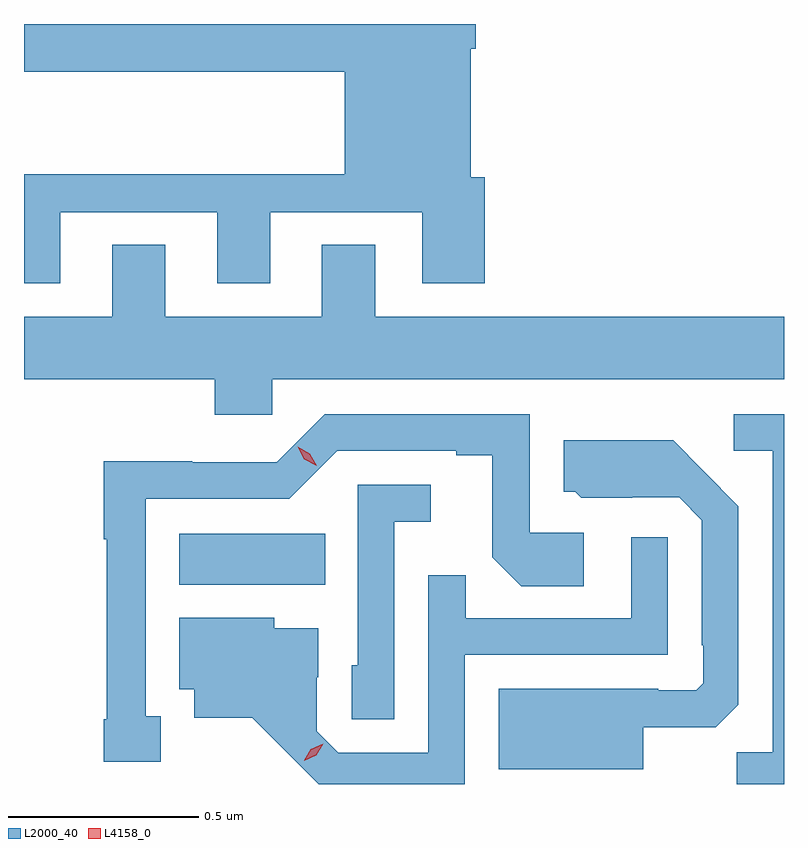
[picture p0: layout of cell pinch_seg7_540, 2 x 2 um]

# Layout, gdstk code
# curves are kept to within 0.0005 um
import gdstk
lib = gdstk.Library(unit=1e-6, precision=1e-09)
def R(c, l, rs):  # rectangles x0, y0, x1, y1
    for r in rs: c.add(gdstk.rectangle(r[:2], r[2:], *l))
def P(c, l, *ps):  # polygons
    for p in ps: c.add(gdstk.Polygon(p, *l))
L2000_40 = (2000, 40)
L4158_0 = (4158, 0)

pinch_seg7_540 = lib.new_cell('pinch_seg7_540')
R(pinch_seg7_540, L2000_40, [(132.266,1061.348,132.65,1061.482)])
P(pinch_seg7_540, L2000_40, [(131.953,1062.327),(132.365,1062.327),(132.365,1062.141),(132.505,1062.141),(132.505,1062.327),(132.905,1062.327),(132.905,1062.141),(133.07,1062.141),(133.07,1062.42),(133.033,1062.42),(133.033,1062.758),(133.046,1062.758),(133.046,1062.823),(131.857,1062.823),(131.857,1062.698),(132.701,1062.698),(132.701,1062.428),(131.857,1062.428),(131.857,1062.141),(131.953,1062.141)],
  [(132.51,1061.888),(133.857,1061.888),(133.857,1062.052),(132.781,1062.052),(132.781,1062.242),(132.641,1062.242),(132.641,1062.052),(132.229,1062.052),(132.229,1062.242),(132.089,1062.242),(132.089,1062.052),(131.857,1062.052),(131.857,1061.888),(132.359,1061.888),(132.359,1061.795),(132.51,1061.795)],
  [(132.217,1061.001),(132.178,1061.001),(132.178,1061.574),(132.555,1061.574),(132.681,1061.7),(132.995,1061.7),(132.995,1061.688),(133.089,1061.688),(133.089,1061.42),(133.165,1061.344),(133.33,1061.344),(133.33,1061.484),(133.188,1061.484),(133.188,1061.796),(132.648,1061.796),(132.522,1061.67),(132.3,1061.67),(132.3,1061.672),(132.067,1061.672),(132.067,1061.467),(132.075,1061.467),(132.075,1060.993),(132.067,1060.993),(132.067,1060.881),(132.217,1060.881)],
  [(133.857,1061.796),(133.725,1061.796),(133.725,1061.7),(133.827,1061.7),(133.827,1060.907),(133.732,1060.907),(133.732,1060.823),(133.857,1060.823)],
  [(133.486,1060.973),(133.678,1060.973),(133.737,1061.032),(133.737,1061.554),(133.565,1061.728),(133.277,1061.728),(133.277,1061.592),(133.308,1061.592),(133.324,1061.576),(133.458,1061.576),(133.458,1061.577),(133.581,1061.577),(133.641,1061.517),(133.641,1061.188),(133.644,1061.188),(133.644,1061.088),(133.626,1061.07),(133.526,1061.07),(133.526,1061.074),(133.106,1061.074),(133.106,1060.862),(133.486,1060.862)],
  [(132.831,1061.513),(132.928,1061.513),(132.928,1061.61),(132.735,1061.61),(132.735,1061.136),(132.72,1061.136),(132.72,1060.993),(132.831,1060.993)],
  [(133.017,1061.163),(133.551,1061.163),(133.551,1061.473),(133.455,1061.473),(133.455,1061.259),(133.019,1061.259),(133.019,1061.372),(132.921,1061.372),(132.921,1060.905),(132.684,1060.905),(132.627,1060.962),(132.627,1061.104),(132.631,1061.104),(132.631,1061.233),(132.516,1061.233),(132.516,1061.26),(132.266,1061.26),(132.266,1061.072),(132.305,1061.072),(132.305,1060.997),(132.457,1060.997),(132.633,1060.823),(133.017,1060.823)])
P(pinch_seg7_540, L4158_0, [(132.627,1061.66),(132.595,1061.678),(132.577,1061.71),(132.577,1061.711),(132.578,1061.711),(132.609,1061.692),(132.627,1061.66),(132.627,1061.66)],
  [(132.594,1060.884),(132.594,1060.885),(132.612,1060.914),(132.644,1060.929),(132.644,1060.929),(132.644,1060.929),(132.626,1060.899),(132.595,1060.884)])

lib.write_gds('pinch_seg7_540.gds')
